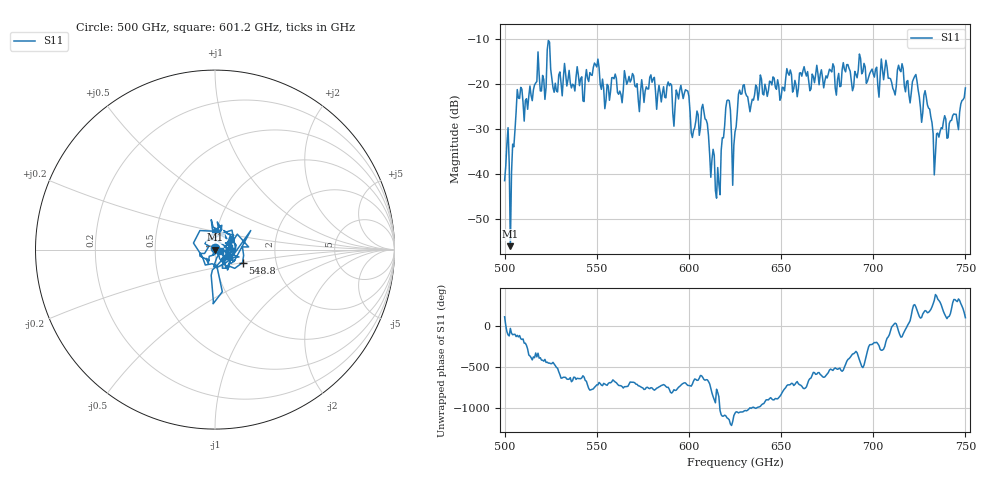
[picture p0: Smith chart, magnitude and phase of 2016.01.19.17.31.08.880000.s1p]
!Created with skrf (http://scikit-rf.org).
# GHz S RI R 50.0
!freq ReS11 ImS11
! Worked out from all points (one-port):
!   401 points, 500 GHz to 750 GHz, reference 50 ohm
!   lowest |S11| = -56.0 dB at 503.1 GHz (marker M1), VSWR 1.00, Z = 50.1 - j0.084 ohm
!   |S11| at or under -10 dB: start of sweep to end of sweep
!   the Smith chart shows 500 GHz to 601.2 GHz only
!   S11 on the Smith chart (normalised r, x): 500 GHz: 0.99, +0.02; 548.8 GHz: 1.35, -0.20; 601.2 GHz: 1.06, -0.01
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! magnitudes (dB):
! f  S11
! 500 GHz  -41.5
! 503.1 GHz  -56.0
! 508.1 GHz  -23.2
! 521.2 GHz  -19.1
! 524.4 GHz  -10.8
! 527.5 GHz  -19.9
! 531.2 GHz  -22.7
! 541.9 GHz  -18.5
! 548.8 GHz  -15.4
! 562.5 GHz  -21.6
! 568.8 GHz  -19.1
! 593.8 GHz  -22.2
! 598.8 GHz  -21.5
! 601.2 GHz  -30.9
! 608.1 GHz  -26.1
! 615.6 GHz  -38.6
! 621.2 GHz  -23.6
! 625 GHz  -30.7
! 628.8 GHz  -22.2
! 656.2 GHz  -21.8
! 687.5 GHz  -17.2
! 705.6 GHz  -19.1
! 711.2 GHz  -21.6
! 715 GHz  -17.3
! 718.8 GHz  -19.3
! 728.8 GHz  -22.9
! 734.4 GHz  -31.1
! 750 GHz  -20.9
